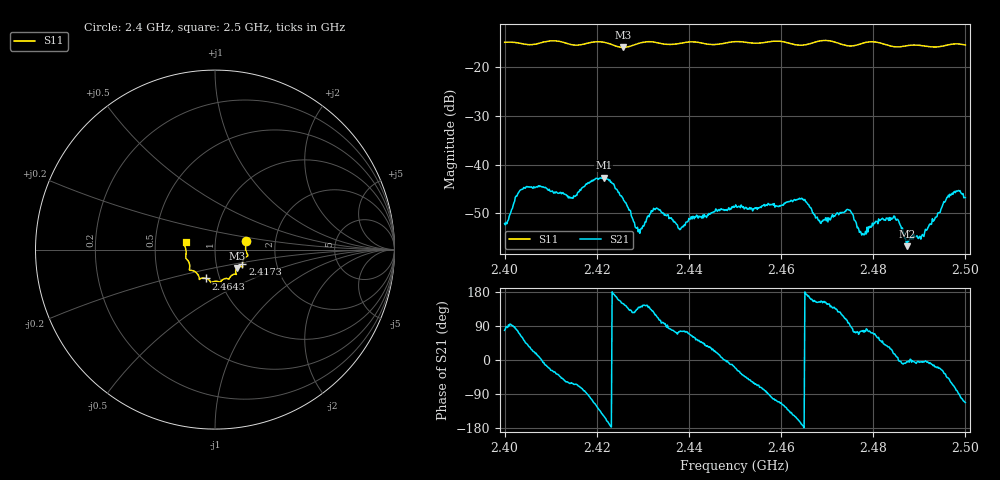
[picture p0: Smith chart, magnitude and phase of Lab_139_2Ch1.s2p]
# Hz S RI R 50
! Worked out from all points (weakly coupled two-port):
!   601 points, 2.4 GHz to 2.5 GHz, reference 50 ohm
!   highest |S21| = -42.66 dB at 2.4215 GHz (marker M1); lowest = -56.7 dB at 2.4873 GHz (marker M2)
!   lowest |S11| = -15.9 dB at 2.4257 GHz (marker M3), VSWR 1.38, Z = 62.4 - j13.1 ohm
!   |S11| at or under -10 dB: start of sweep to end of sweep
!   S12 and S22 are empty: the file has one direction only
!   S11 on the Smith chart (normalised r, x): 2.4 GHz: 1.41, +0.14; 2.4173 GHz: 1.34, -0.23; 2.4643 GHz: 0.86, -0.28; 2.5 GHz: 0.72, +0.06
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2.4e9  0.1732 0.049  0.000504 0.00243  0 0  0 0
2.404333e9  0.171 0.0211  0.00368 0.00443  0 0  0 0
2.414333e9  0.1637 -0.0495  0.00221 -0.00405  0 0  0 0
2.416667e9  0.1532 -0.0747  0.00153 -0.00546  0 0  0 0
2.417333e9  0.1524 -0.0823  0.000931 -0.00588  0 0  0 0
2.4215e9  0.1529 -0.0957  -0.00621 -0.00397  0 0  0 0
2.425667e9  0.1224 -0.1022  -0.00387 0.00234  0 0  0 0
2.429e9  0.1159 -0.1311  -0.00153 0.00135  0 0  0 0
2.433333e9  0.1128 -0.1369  -0.00124 0.00327  0 0  0 0
2.438167e9  0.0823 -0.1555  0.000504 0.00211  0 0  0 0
2.45e9  0.0295 -0.1807  0.00349 -0.0013  0 0  0 0
2.464333e9  -0.0499 -0.1605  -0.00437 -0.000929  0 0  0 0
2.466667e9  -0.0758 -0.1595  -0.00323 0.00114  0 0  0 0
2.468667e9  -0.0868 -0.1655  -0.00227 0.00103  0 0  0 0
2.474667e9  -0.103 -0.1295  -0.00047 0.00339  0 0  0 0
2.478e9  -0.1349 -0.1161  0.000549 0.00181  0 0  0 0
2.483333e9  -0.1408 -0.0899  0.0022 0.00151  0 0  0 0
2.485e9  -0.1447 -0.072  0.00265 0.00043  0 0  0 0
2.487333e9  -0.1571 -0.0546  0.00145 -9.47e-05  0 0  0 0
2.490667e9  -0.1622 -0.0367  0.00191 -0.000199  0 0  0 0
2.496667e9  -0.1694 0.024  0.00283 -0.00409  0 0  0 0
2.5e9  -0.1637 0.0418  -0.00176 -0.00423  0 0  0 0
